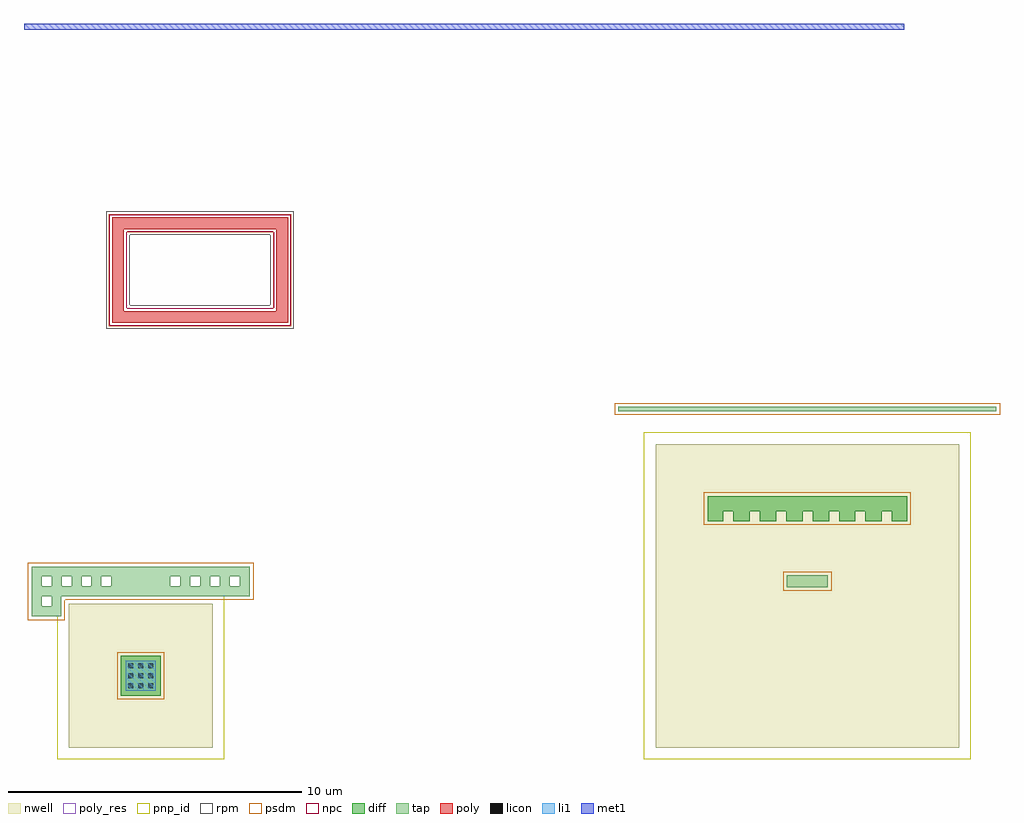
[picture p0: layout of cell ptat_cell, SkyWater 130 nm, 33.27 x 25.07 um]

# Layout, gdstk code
import gdstk
lib = gdstk.Library(unit=1e-6, precision=1e-09)
def R(c, l, rs):  # rectangles x0, y0, x1, y1
    for r in rs: c.add(gdstk.rectangle(r[:2], r[2:], *l))
def A(c, l, x, y, w, h, nx, ny, dx, dy):  # array of equal rectangles
    R(c, l, [(x+i*dx, y+j*dy, x+i*dx+w, y+j*dy+h) for i in range(nx) for j in range(ny)])
nwell = (64, 20)
diff = (65, 20)
tap = (65, 44)
poly_res = (66, 13)
poly = (66, 20)
licon = (66, 44)
li1 = (67, 20)
met1 = (68, 20)
pnp_id = (82, 44)
rpm = (86, 20)
psdm = (94, 20)
npc = (95, 20)

ptat_cell = lib.new_cell('ptat_cell')
R(ptat_cell, nwell, [(1.53,1.53,6.43,6.43), (21.53,1.53,31.87,11.87)])
A(ptat_cell, diff, 24.18, 9.24, 0.56, 0.34, 6, 1, 0.9, 0)
R(ptat_cell, diff, [(3.3,3.3,4.66,4.66), (23.3,9.24,23.84,9.58), (29.58,9.24,30.1,9.58), (23.3,9.58,30.1,10.1)])
A(ptat_cell, tap, 0.26, 7.02, 0.34, 0.34, 4, 1, 0.68, 0)
A(ptat_cell, tap, 5.32, 7.02, 0.34, 0.34, 4, 1, 0.68, 0)
R(ptat_cell, tap, [(0.26,6,1.27,6.34), (0.26,6.34,0.6,6.68), (0.94,6.34,1.27,6.68), (0.26,6.68,1.27,6.69), (0.26,6.69,7.7,7.02), (26,7,27.4,7.4), (2.98,7.02,4.98,7.36), (0.26,7.36,7.7,7.7), (20.26,13,33.14,13.14)])
R(ptat_cell, poly_res, [(3,16,9,16.4), (3,16.4,3.4,19.2), (8.6,16.4,9,19.2), (3,19.2,9,19.6)])
R(ptat_cell, poly, [(3,16,9,16.4), (3,16.4,3.4,19.2), (8.6,16.4,9,19.2), (3,19.2,9,19.6)])
A(ptat_cell, licon, 3.555, 3.555, 0.17, 0.17, 3, 3, 0.34, 0.34)
R(ptat_cell, li1, [(3.47,3.47,4.49,4.49)])
R(ptat_cell, met1, [(0,26,30,26.2)])
A(ptat_cell, pnp_id, 0.26, 7.02, 0.34, 0.34, 4, 1, 0.68, 0)
A(ptat_cell, pnp_id, 5.32, 7.02, 0.34, 0.34, 4, 1, 0.68, 0)
R(ptat_cell, pnp_id, [(1.13,1.13,6.83,6), (21.13,1.13,32.27,12.27), (0.26,6,6.83,6.34), (0.26,6.34,0.6,6.68), (0.94,6.34,6.83,6.68), (0.26,6.68,6.83,6.69), (0.26,6.69,7.7,7.02), (2.98,7.02,4.98,7.36), (0.26,7.36,7.7,7.7)])
R(ptat_cell, rpm, [(2.8,15.8,9.2,16.6), (2.8,16.6,3.6,19), (8.4,16.6,9.2,19), (2.8,19,9.2,19.8)])
R(ptat_cell, psdm, [(3.175,3.175,4.785,4.785), (0.135,5.875,1.395,6.565), (0.135,6.565,7.825,7.825), (25.875,6.875,27.525,7.525), (23.175,9.115,30.225,10.225), (20.135,12.875,33.265,13.265), (2.89,15.89,9.11,16.51), (2.89,16.51,3.51,19.09), (8.49,16.51,9.11,19.09), (2.89,19.09,9.11,19.71)])
R(ptat_cell, npc, [(2.905,15.905,9.095,16.495), (2.905,16.495,3.495,19.105), (8.505,16.495,9.095,19.105), (2.905,19.105,9.095,19.695)])

lib.write_gds('ptat_cell.gds')
